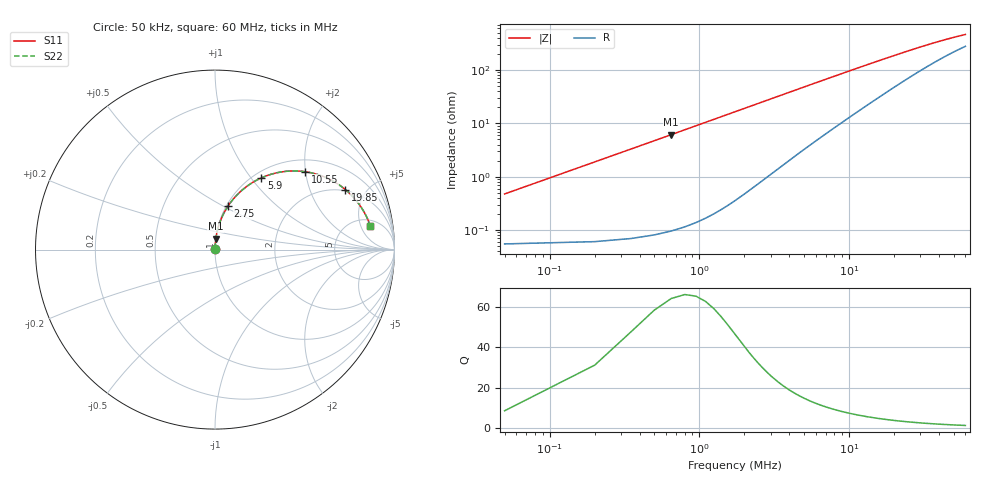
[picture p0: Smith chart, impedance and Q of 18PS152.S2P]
! Coilcraft 1812PS-152 Power Chip Inductor
! 1 October 2002
# MHZ S MA R 50
!Freq  MagS11  AngS11  MagS21  AngS21  MagS12  AngS12  MagS22  AngS22
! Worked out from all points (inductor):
!   401 points, 50 kHz to 60 MHz, reference 50 ohm
!   read as one part in series: L = 1.5 uH near 350 kHz
!   highest Q = 59.1 at 650 kHz (marker M1), where L = 1.5 uH
!   S11 on the Smith chart (normalised r, x): 50 kHz: 1.00, +0.01; 2.75 MHz: 1.02, +0.53; 5.9 MHz: 1.09, +1.13; 10.55 MHz: 1.28, +1.99; 19.85 MHz: 1.93, +3.59; 60 MHz: 6.55, +7.42
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0.05  0.004742 83.1  0.9994 -0.3  0.9994 -0.3  0.004742 83.1
0.2  0.01885 87.1  0.9992 -1.1  0.9992 -1.1  0.01885 87.1
0.5  0.0471 86.3  0.9981 -2.7  0.9981 -2.7  0.0471 86.3
0.65  0.06122 85.6  0.9972 -3.5  0.9972 -3.5  0.06122 85.6
0.8  0.07533 84.8  0.996 -4.3  0.996 -4.3  0.07533 84.8
0.95  0.08942 84.0  0.9946 -5.1  0.9946 -5.1  0.08942 84.0
1.4  0.1314 81.4  0.9889 -7.6  0.9889 -7.6  0.1314 81.4
2  0.1864 77.8  0.9779 -10.7  0.9779 -10.7  0.1864 77.8
2.75  0.2521 73.4  0.9589 -14.6  0.9589 -14.6  0.2521 73.4
3.35  0.3017 70.0  0.9403 -17.5  0.9403 -17.5  0.3017 70.0
4.1  0.3593 65.9  0.9139 -21.0  0.9139 -21.0  0.3593 65.9
5.9  0.4765 57.1  0.842 -28.4  0.842 -28.4  0.4765 57.1
7.85  0.5725 49.2  0.7614 -34.7  0.7614 -34.7  0.5725 49.2
10.1  0.6516 42.0  0.6756 -40.2  0.6756 -40.2  0.6516 42.0
10.55  0.6642 40.8  0.6598 -41.1  0.6598 -41.1  0.6642 40.8
14.75  0.7476 31.7  0.5357 -47.2  0.5357 -47.2  0.7476 31.7
19.85  0.7998 24.7  0.4317 -50.7  0.4317 -50.7  0.7998 24.7
20.15  0.802 24.4  0.4268 -50.8  0.4268 -50.8  0.802 24.4
30.05  0.8442 16.9  0.3122 -52.0  0.3122 -52.0  0.8442 16.9
40.1  0.8616 12.9  0.2499 -50.2  0.2499 -50.2  0.8617 12.9
50.15  0.8704 10.4  0.2126 -47.4  0.2126 -47.4  0.8704 10.4
60  0.8754 8.7  0.1889 -44.5  0.1889 -44.5  0.8754 8.7
